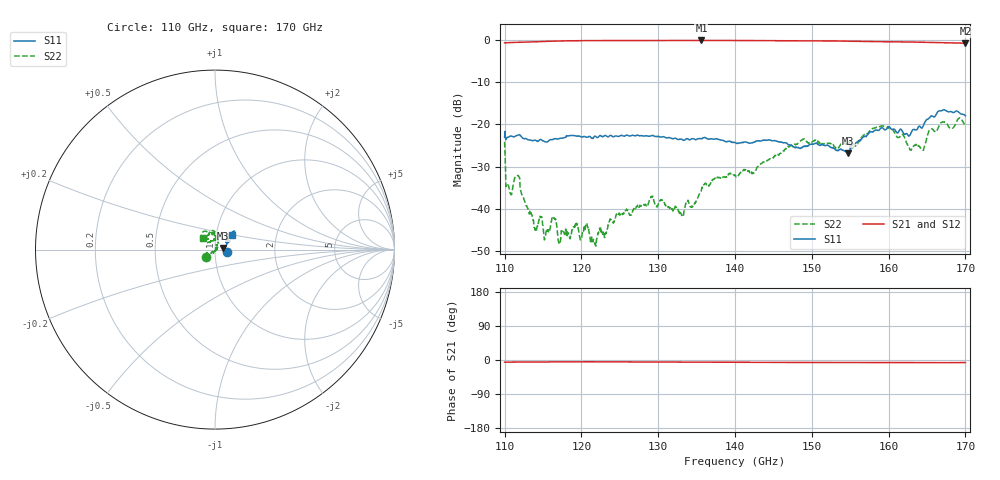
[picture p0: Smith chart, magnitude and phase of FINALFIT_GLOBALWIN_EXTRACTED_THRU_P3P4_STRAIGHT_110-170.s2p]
! Generated by Phase I extraction
# Hz S RI R 50
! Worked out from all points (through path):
!   1471 points, 110 GHz to 170 GHz, reference 50 ohm
!   highest |S21| = -0.10 dB at 135.6 GHz (marker M1); lowest = -0.7 dB at 170 GHz (marker M2)
!   lowest |S11| = -26.9 dB at 154.7 GHz (marker M3), VSWR 1.09, Z = 54.6 + j0.987 ohm
!   |S11| at or under -10 dB: start of sweep to end of sweep
!   |S22| runs from -48.9 to -18.4 dB; largest |S21 - S12| = 0.023
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1.1e11  0.0694 -0.0109  0.9222 -0.0903  0.9201 -0.0976  -0.0475 -0.04
1.10449e11  0.0704 0.000296  0.927 -0.0893  0.9254 -0.0959  -0.0131 -0.0139
1.116735e11  0.0737 -0.00732  0.9363 -0.0889  0.9356 -0.0946  -0.0126 -0.0214
1.140408e11  0.0648 -0.00434  0.9489 -0.0899  0.9481 -0.0941  0.0029 -0.00481
1.154286e11  0.0616 -0.00423  0.9618 -0.0861  0.9613 -0.0884  0.00149 -0.00523
1.164082e11  0.0668 -0.00465  0.9676 -0.0842  0.9673 -0.0862  0.00752 -0.00212
1.171429e11  0.0679 -0.00462  0.9714 -0.0832  0.9711 -0.0851  0.00386 0.000767
1.192245e11  0.0724 -0.0118  0.9787 -0.0819  0.9784 -0.0842  0.002 -0.00609
1.2e11  0.07 -0.0116  0.9802 -0.0818  0.9798 -0.0843  -0.000831 -0.00448
1.206531e11  0.0695 -0.0114  0.9811 -0.0818  0.9807 -0.0846  0.00105 -0.00668
1.217551e11  0.0715 -0.0121  0.9821 -0.0822  0.9815 -0.0857  0.00181 -0.00342
1.247347e11  0.0707 -0.0148  0.9824 -0.0852  0.9815 -0.0911  0.00838 -0.00241
1.3e11  0.0689 -0.0209  0.9823 -0.092  0.9803 -0.1018  0.00983 0.00538
1.330612e11  0.0641 -0.018  0.9836 -0.0955  0.981 -0.1097  0.00561 0.00609
1.356327e11  0.0659 -0.0154  0.984 -0.1  0.9813 -0.1179  0.0134 0.0102
1.4e11  0.0594 -0.0143  0.982 -0.1104  0.9794 -0.1312  0.00969 0.0233
1.5e11  0.0588 0.000253  0.9723 -0.1111  0.969 -0.1236  0.0068 0.0613
1.547347e11  0.0443 0.00901  0.9638 -0.1107  0.9615 -0.1188  0.00747 0.06
1.6e11  0.0783 0.0498  0.9491 -0.1105  0.9482 -0.1171  -0.0311 0.0846
1.643673e11  0.0673 0.0611  0.9338 -0.1151  0.9339 -0.1135  -0.0157 0.0482
1.669388e11  0.1048 0.1005  0.9205 -0.1143  0.921 -0.111  -0.00977 0.1053
1.7e11  0.0961 0.0824  0.912 -0.108  0.9106 -0.1205  -0.0689 0.0649
